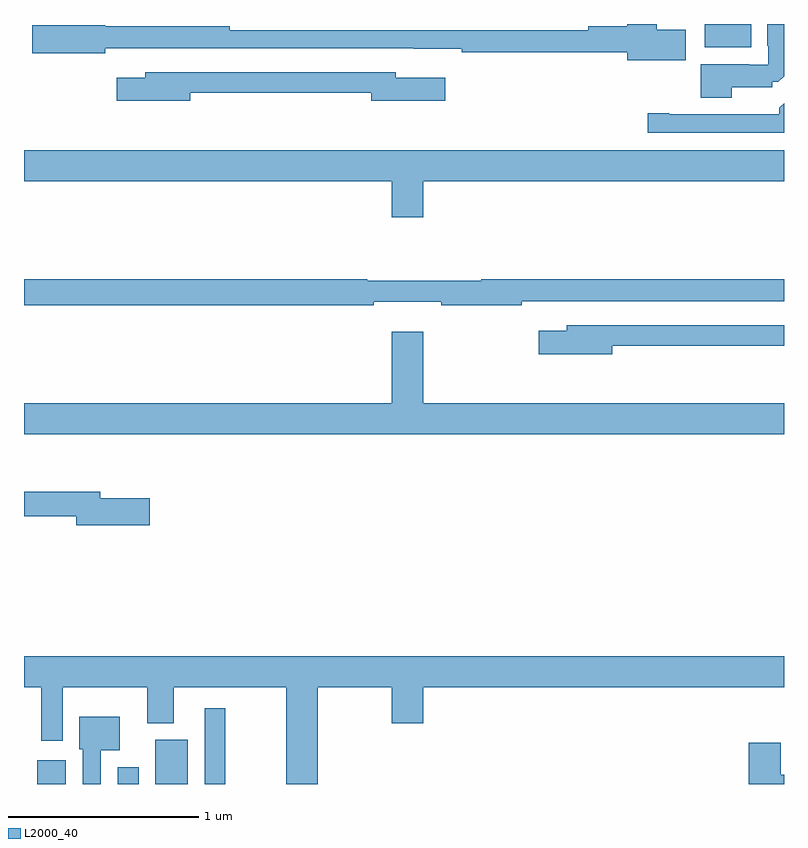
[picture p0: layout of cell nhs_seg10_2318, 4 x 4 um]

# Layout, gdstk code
import gdstk
lib = gdstk.Library(unit=1e-6, precision=1e-09)
def R(c, l, rs):  # rectangles x0, y0, x1, y1
    for r in rs: c.add(gdstk.rectangle(r[:2], r[2:], *l))
def P(c, l, *ps):  # polygons
    for p in ps: c.add(gdstk.Polygon(p, *l))
L2000_40 = (2000, 40)

nhs_seg10_2318 = lib.new_cell('nhs_seg10_2318')
R(nhs_seg10_2318, L2000_40, [(235.07,1274.5,235.219,1274.626), (235.493,1274.5,235.603,1274.587), (235.691,1274.5,235.861,1274.734), (235.95,1274.5,236.059,1274.899), (238.583,1278.377,238.828,1278.5)])
P(nhs_seg10_2318, L2000_40, [(238.726,1278.167),(238.938,1278.167),(238.938,1278.195),(238.969,1278.195),(239,1278.226),(239,1278.5),(238.913,1278.5),(238.913,1278.385),(238.917,1278.385),(238.917,1278.285),(238.817,1278.285),(238.817,1278.289),(238.562,1278.289),(238.562,1278.113),(238.726,1278.113)],
  [(238.483,1278.471),(238.33,1278.471),(238.33,1278.5),(238.175,1278.5),(238.175,1278.488),(237.97,1278.488),(237.97,1278.468),(236.084,1278.468),(236.084,1278.488),(235.428,1278.488),(235.428,1278.494),(235.044,1278.494),(235.044,1278.347),(235.428,1278.347),(235.428,1278.372),(237.052,1278.372),(237.052,1278.371),(237.304,1278.371),(237.304,1278.352),(238.175,1278.352),(238.175,1278.308),(238.483,1278.308)],
  [(235.876,1278.138),(236.828,1278.138),(236.828,1278.095),(237.217,1278.095),(237.217,1278.217),(236.956,1278.217),(236.956,1278.246),(235.637,1278.246),(235.637,1278.217),(235.488,1278.217),(235.488,1278.095),(235.876,1278.095)],
  [(239,1278.082),(238.976,1278.058),(238.976,1278.024),(238.396,1278.024),(238.396,1278.029),(238.284,1278.029),(238.284,1277.928),(239,1277.928)],
  [(237.1,1277.672),(239,1277.672),(239,1277.836),(235,1277.836),(235,1277.672),(236.936,1277.672),(236.936,1277.484),(237.1,1277.484)],
  [(236.84,1277.039),(237.196,1277.039),(237.196,1277.02),(237.62,1277.02),(237.62,1277.04),(239,1277.04),(239,1277.156),(237.406,1277.156),(237.406,1277.149),(236.806,1277.149),(236.806,1277.156),(235,1277.156),(235,1277.02),(236.84,1277.02)],
  [(238.096,1276.806),(239,1276.806),(239,1276.914),(237.857,1276.914),(237.857,1276.885),(237.708,1276.885),(237.708,1276.763),(238.096,1276.763)],
  [(239,1276.504),(237.1,1276.504),(237.1,1276.879),(236.936,1276.879),(236.936,1276.504),(235,1276.504),(235,1276.34),(239,1276.34)],
  [(235.663,1276.005),(235.402,1276.005),(235.402,1276.039),(235,1276.039),(235,1275.91),(235.274,1275.91),(235.274,1275.863),(235.663,1275.863)],
  [(235,1275.008),(235.091,1275.008),(235.091,1274.727),(235.204,1274.727),(235.204,1275.008),(235.649,1275.008),(235.649,1274.819),(235.789,1274.819),(235.789,1275.008),(236.381,1275.008),(236.381,1274.5),(236.545,1274.5),(236.545,1275.008),(236.936,1275.008),(236.936,1274.82),(237.1,1274.82),(237.1,1275.008),(239,1275.008),(239,1275.172),(235,1275.172)],
  [(235.404,1274.678),(235.504,1274.678),(235.504,1274.854),(235.292,1274.854),(235.292,1274.682),(235.308,1274.682),(235.308,1274.5),(235.404,1274.5)],
  [(239,1274.548),(238.984,1274.548),(238.984,1274.716),(238.814,1274.716),(238.814,1274.5),(239,1274.5)])

lib.write_gds('nhs_seg10_2318.gds')
